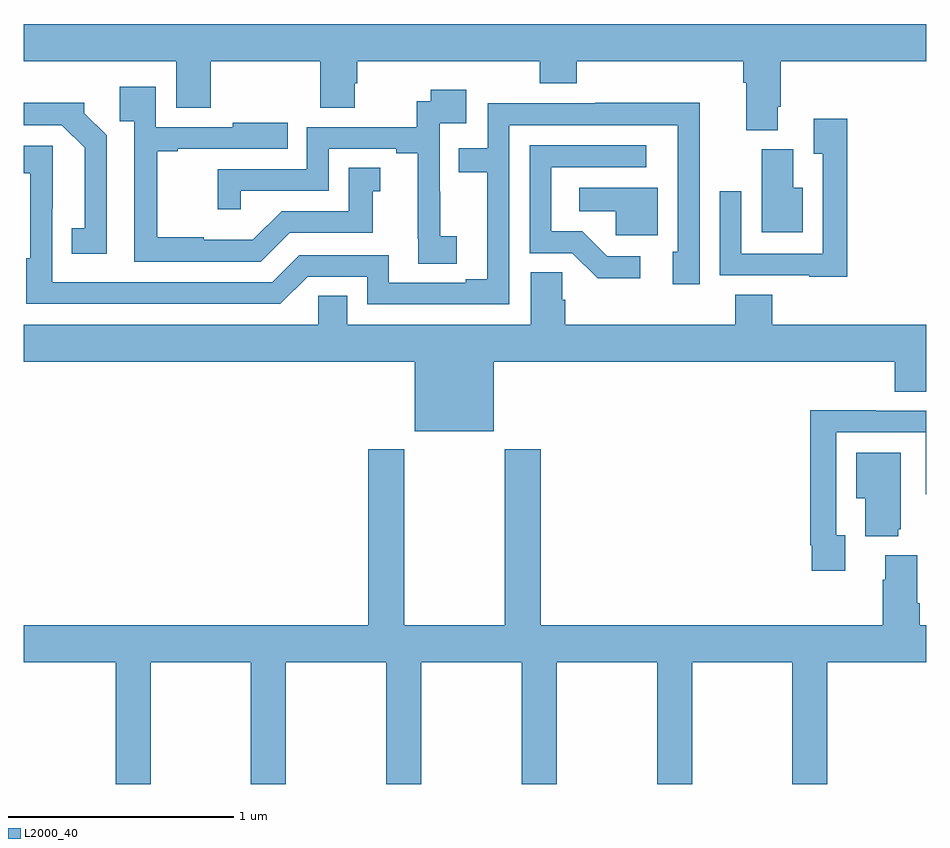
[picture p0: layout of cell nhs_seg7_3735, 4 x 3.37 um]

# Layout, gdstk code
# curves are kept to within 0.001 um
import gdstk
lib = gdstk.Library(unit=1e-6, precision=1e-09)
def P(c, l, *ps):  # polygons
    for p in ps: c.add(gdstk.Polygon(p, *l))
L2000_40 = (2000, 40)

nhs_seg7_3735 = lib.new_cell('nhs_seg7_3735')
P(nhs_seg7_3735, L2000_40, [(350.341,1079.002),(350.354,1079.002),(350.354,1079.204),(351,1079.204),(351,1079.368),(347,1079.368),(347,1079.204),(347.675,1079.204),(347.675,1078.996),(347.828,1078.996),(347.828,1079.204),(348.314,1079.204),(348.314,1078.996),(348.466,1078.996),(348.466,1079.106),(348.479,1079.106),(348.479,1079.204),(349.286,1079.204),(349.286,1079.105),(349.451,1079.105),(349.451,1079.204),(350.189,1079.204),(350.189,1079.108),(350.201,1079.108),(350.201,1078.897),(350.341,1078.897)],
  [(348.18,1078.443),(348.547,1078.443),(348.547,1078.627),(348.58,1078.627),(348.58,1078.73),(348.44,1078.73),(348.44,1078.539),(348.144,1078.539),(348.016,1078.411),(347.798,1078.411),(347.798,1078.423),(347.591,1078.423),(347.591,1078.803),(347.683,1078.803),(347.683,1078.815),(348.17,1078.815),(348.17,1078.93),(347.927,1078.93),(347.927,1078.911),(347.586,1078.911),(347.586,1079.089),(347.425,1079.089),(347.425,1078.937),(347.49,1078.937),(347.49,1078.314),(348.051,1078.314)],
  [(348.919,1078.428),(348.845,1078.428),(348.845,1078.625),(348.843,1078.625),(348.843,1078.929),(348.961,1078.929),(348.961,1079.077),(348.805,1079.077),(348.805,1079.025),(348.742,1079.025),(348.742,1078.911),(348.255,1078.911),(348.255,1078.725),(347.86,1078.725),(347.86,1078.548),(347.961,1078.548),(347.961,1078.629),(348.351,1078.629),(348.351,1078.815),(348.65,1078.815),(348.65,1078.795),(348.746,1078.795),(348.746,1078.417),(348.748,1078.417),(348.748,1078.306),(348.919,1078.306)],
  [(347.367,1078.874),(347.268,1078.973),(347.268,1079.018),(347,1079.018),(347,1078.92),(347.169,1078.92),(347.27,1078.819),(347.27,1078.463),(347.212,1078.463),(347.212,1078.35),(347.367,1078.35)],
  [(349.152,1078.92),(349.899,1078.92),(349.899,1078.359),(349.877,1078.359),(349.877,1078.215),(349.995,1078.215),(349.995,1078.714),(349.997,1078.714),(349.997,1079.018),(349.534,1079.018),(349.534,1079.016),(349.056,1079.016),(349.056,1078.818),(348.928,1078.818),(348.928,1078.71),(349.055,1078.71),(349.055,1078.236),(348.959,1078.236),(348.959,1078.221),(348.618,1078.221),(348.618,1078.344),(348.222,1078.344),(348.102,1078.224),(347.127,1078.224),(347.128,1078.828),(347,1078.828),(347,1078.707),(347.029,1078.707),(347.029,1078.331),(347.011,1078.331),(347.011,1078.128),(348.138,1078.128),(348.258,1078.248),(348.522,1078.248),(348.522,1078.125),(349.152,1078.125)],
  [(350.65,1078.948),(350.501,1078.948),(350.501,1078.792),(350.541,1078.792),(350.541,1078.35),(350.181,1078.35),(350.181,1078.627),(350.085,1078.627),(350.085,1078.254),(350.481,1078.254),(350.481,1078.247),(350.65,1078.247)],
  [(349.732,1078.338),(349.587,1078.338),(349.476,1078.449),(349.338,1078.449),(349.338,1078.734),(349.759,1078.734),(349.759,1078.83),(349.242,1078.83),(349.242,1078.353),(349.431,1078.353),(349.544,1078.241),(349.732,1078.241)],
  [(350.452,1078.642),(350.41,1078.642),(350.41,1078.812),(350.27,1078.812),(350.27,1078.445),(350.452,1078.445)],
  [(349.81,1078.642),(349.461,1078.642),(349.461,1078.538),(349.623,1078.538),(349.623,1078.431),(349.81,1078.431)],
  [(349.084,1077.872),(350.861,1077.872),(350.861,1077.739),(351,1077.739),(351,1078.036),(350.318,1078.036),(350.318,1078.169),(350.153,1078.169),(350.153,1078.036),(349.4,1078.036),(349.4,1078.145),(349.386,1078.145),(349.386,1078.268),(349.247,1078.268),(349.247,1078.036),(348.433,1078.036),(348.433,1078.163),(348.306,1078.163),(348.306,1078.036),(347,1078.036),(347,1077.872),(348.734,1077.872),(348.734,1077.563),(349.084,1077.563)],
  [(350.641,1077.102),(350.601,1077.102),(350.601,1077.558),(350.997,1077.558),(350.997,1077.285),(351,1077.285),(351,1077.654),(350.777,1077.654),(350.777,1077.656),(350.485,1077.656),(350.485,1077.058),(350.493,1077.058),(350.493,1076.946),(350.641,1076.946)],
  [(348.762,1076.54),(349.207,1076.54),(349.207,1076),(349.362,1076),(349.362,1076.54),(349.807,1076.54),(349.807,1076),(349.962,1076),(349.962,1076.54),(350.407,1076.54),(350.407,1076),(350.562,1076),(350.562,1076.54),(351,1076.54),(351,1076.704),(350.972,1076.704),(350.972,1076.8),(350.959,1076.8),(350.959,1077.013),(350.819,1077.013),(350.819,1076.906),(350.807,1076.906),(350.807,1076.704),(349.292,1076.704),(349.292,1077.484),(349.132,1077.484),(349.132,1076.704),(348.687,1076.704),(348.687,1077.484),(348.527,1077.484),(348.527,1076.704),(347,1076.704),(347,1076.54),(347.407,1076.54),(347.407,1076),(347.562,1076),(347.562,1076.54),(348.007,1076.54),(348.007,1076),(348.162,1076),(348.162,1076.54),(348.607,1076.54),(348.607,1076),(348.762,1076)],
  [(350.876,1077.129),(350.887,1077.129),(350.887,1077.469),(350.69,1077.469),(350.69,1077.266),(350.729,1077.266),(350.729,1077.098),(350.876,1077.098)])

lib.write_gds('nhs_seg7_3735.gds')
